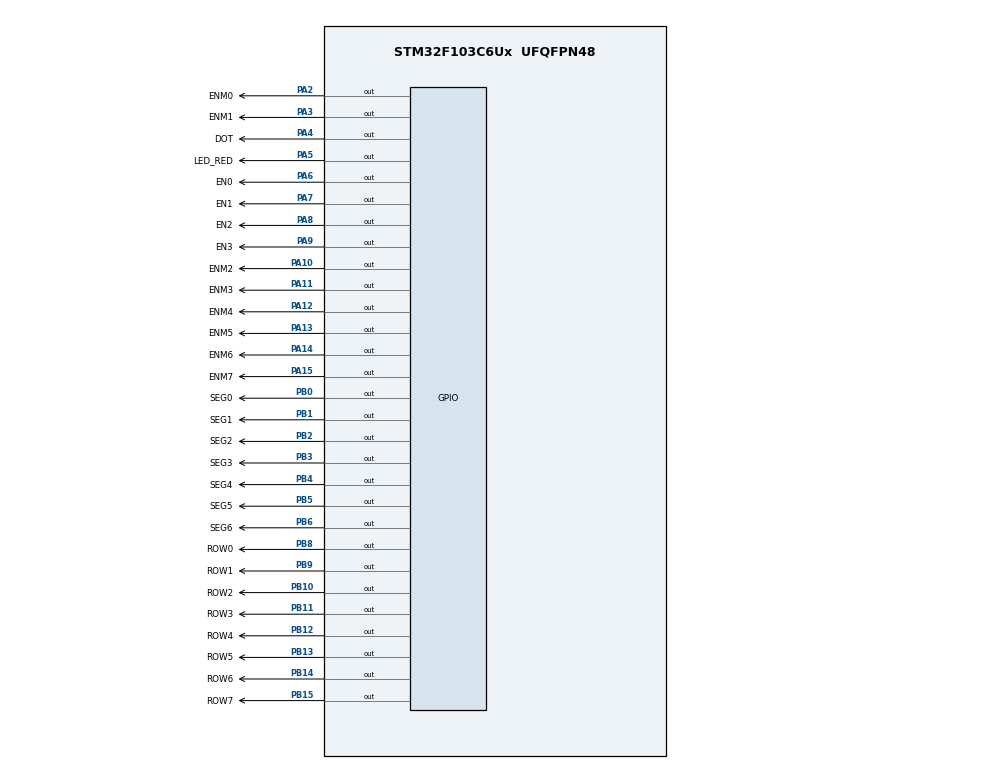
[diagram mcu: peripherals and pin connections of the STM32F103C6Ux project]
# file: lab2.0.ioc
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Mcu.Family=STM32F1
Mcu.Name=STM32F103C6Ux
Mcu.Package=UFQFPN48
NVIC.PriorityGroup=NVIC_PRIORITYGROUP_4
NVIC.TIM2_IRQn=true\:0\:0\:false\:false\:true\:true\:true
PA10.GPIO_Label=ENM2
PA10.Signal=GPIO_Output
PA11.GPIO_Label=ENM3
PA11.Signal=GPIO_Output
PA12.GPIO_Label=ENM4
PA12.Signal=GPIO_Output
PA13.GPIO_Label=ENM5
PA13.Signal=GPIO_Output
PA14.GPIO_Label=ENM6
PA14.Signal=GPIO_Output
PA15.GPIO_Label=ENM7
PA15.Signal=GPIO_Output
PA2.GPIO_Label=ENM0
PA2.Signal=GPIO_Output
PA3.GPIO_Label=ENM1
PA3.Signal=GPIO_Output
PA4.GPIO_Label=DOT
PA4.Signal=GPIO_Output
PA5.GPIO_Label=LED_RED
PA5.Signal=GPIO_Output
PA6.GPIO_Label=EN0
PA6.Signal=GPIO_Output
PA7.GPIO_Label=EN1
PA7.Signal=GPIO_Output
PA8.GPIO_Label=EN2
PA8.Signal=GPIO_Output
PA9.GPIO_Label=EN3
PA9.Signal=GPIO_Output
PB0.GPIO_Label=SEG0
PB0.Signal=GPIO_Output
PB1.GPIO_Label=SEG1
PB1.Signal=GPIO_Output
PB10.GPIO_Label=ROW2
PB10.Signal=GPIO_Output
PB11.GPIO_Label=ROW3
PB11.Signal=GPIO_Output
PB12.GPIO_Label=ROW4
PB12.Signal=GPIO_Output
PB13.GPIO_Label=ROW5
PB13.Signal=GPIO_Output
PB14.GPIO_Label=ROW6
PB14.Signal=GPIO_Output
PB15.GPIO_Label=ROW7
PB15.Signal=GPIO_Output
PB2.GPIO_Label=SEG2
PB2.Signal=GPIO_Output
PB3.GPIO_Label=SEG3
PB3.Signal=GPIO_Output
PB4.GPIO_Label=SEG4
PB4.Signal=GPIO_Output
PB5.GPIO_Label=SEG5
PB5.Signal=GPIO_Output
PB6.GPIO_Label=SEG6
PB6.Signal=GPIO_Output
PB8.GPIO_Label=ROW0
PB8.Signal=GPIO_Output
PB9.GPIO_Label=ROW1
PB9.Signal=GPIO_Output
ProjectManager.HeapSize=0x200
ProjectManager.StackSize=0x400
ProjectManager.TargetToolchain=STM32CubeIDE
RCC.APB1Freq_Value=8000000
RCC.APB2Freq_Value=8000000
TIM2.Period=9
TIM2.Prescaler=7999
VP_SYS_VS_ND.Mode=No_Debug
VP_TIM2_VS_ClockSourceINT.Mode=Internal
board=custom

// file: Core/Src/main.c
/* USER CODE BEGIN Header */
/**
  ******************************************************************************
  * @file           : main.c
  * @brief          : Main program body
  ******************************************************************************
  * @attention
  *
  * <h2><center>&copy; Copyright (c) 2024 STMicroelectronics.
  * All rights reserved.</center></h2>
  *
  * This software component is licensed by ST under BSD 3-Clause license,
  * the "License"; You may not use this file except in compliance with the
  * License. You may obtain a copy of the License at:
  *                        opensource.org/licenses/BSD-3-Clause
  *
  ******************************************************************************
  */
/* USER CODE END Header */
#include "main.h"

/* USER CODE BEGIN Includes */
#include "timer.h"
/* USER CODE END Includes */

TIM_HandleTypeDef htim2;

void SystemClock_Config(void);
static void MX_GPIO_Init(void);
static void MX_TIM2_Init(void);
void display7SEG(int num);
void update7SEG(int index);
void updateClockbuffer(int hour, int minute);

int main(void)
{

  /* MCU Configuration--------------------------------------------------------*/

  /* Reset of all peripherals, Initializes the Flash interface and the Systick. */
  HAL_Init();

  /* Configure the system clock */
  SystemClock_Config();

  /* Initialize all configured peripherals */
  MX_GPIO_Init();
  MX_TIM2_Init();
  /* USER CODE BEGIN 2 */
  HAL_TIM_Base_Start_IT (&htim2);
  /* USER CODE END 2 */

  /* Infinite loop */
  /* USER CODE BEGIN WHILE */
  settimer1(1000);
  settimer2(100);
  settimer3(25);
  int hour = 15, minute = 8, second = 50;
  updateClockbuffer(hour, minute);
  const int MAX_LED = 4;
  int index_led = 0;

  while (1)
  {
	  if(timer1_flag == 1){
		  HAL_GPIO_TogglePin(GPIOA, DOT_Pin);
		  settimer1(1000);
	  }
	  if(timer2_flag == 1){
	  second++;
	  	  if(second >= 60){
	  		  second = 0;
	  		  minute++;
	  	  }
	  	  if(minute >=60){
	  		  minute = 0;
	  		  hour++;
	  	  }
	  	  if(hour >=24){
	  		  hour = 0;
	  	  }
	  	  updateClockbuffer(hour, minute);
	  	  settimer2(100);
	  }
	  if(timer3_flag == 1){
		  update7SEG(index_led);
		  index_led++;
		  if(index_led >= MAX_LED)
		  {
			  index_led = 0;
		  }
		  settimer3(25);
	  }

    /* USER CODE END WHILE */

  }
}

void SystemClock_Config(void)
{
  RCC_OscInitTypeDef RCC_OscInitStruct = {0};
  RCC_ClkInitTypeDef RCC_ClkInitStruct = {0};

  /** Initializes the RCC Oscillators according to the specified parameters
  * in the RCC_OscInitTypeDef structure.
  */
  RCC_OscInitStruct.OscillatorType = RCC_OSCILLATORTYPE_HSI;
  RCC_OscInitStruct.HSIState = RCC_HSI_ON;
  RCC_OscInitStruct.HSICalibrationValue = RCC_HSICALIBRATION_DEFAULT;
  RCC_OscInitStruct.PLL.PLLState = RCC_PLL_NONE;
  if (HAL_RCC_OscConfig(&RCC_OscInitStruct) != HAL_OK)
  {
    Error_Handler();
  }
  /** Initializes the CPU, AHB and APB buses clocks
  */
  RCC_ClkInitStruct.ClockType = RCC_CLOCKTYPE_HCLK|RCC_CLOCKTYPE_SYSCLK
                              |RCC_CLOCKTYPE_PCLK1|RCC_CLOCKTYPE_PCLK2;
  RCC_ClkInitStruct.SYSCLKSource = RCC_SYSCLKSOURCE_HSI;
  RCC_ClkInitStruct.AHBCLKDivider = RCC_SYSCLK_DIV1;
  RCC_ClkInitStruct.APB1CLKDivider = RCC_HCLK_DIV1;
  RCC_ClkInitStruct.APB2CLKDivider = RCC_HCLK_DIV1;

  if (HAL_RCC_ClockConfig(&RCC_ClkInitStruct, FLASH_LATENCY_0) != HAL_OK)
  {
    Error_Handler();
  }
}

static void MX_TIM2_Init(void)
{

  TIM_ClockConfigTypeDef sClockSourceConfig = {0};
  TIM_MasterConfigTypeDef sMasterConfig = {0};

  htim2.Instance = TIM2;
  htim2.Init.Prescaler = 7999;
  htim2.Init.CounterMode = TIM_COUNTERMODE_UP;
  htim2.Init.Period = 9;
  htim2.Init.ClockDivision = TIM_CLOCKDIVISION_DIV1;
  htim2.Init.AutoReloadPreload = TIM_AUTORELOAD_PRELOAD_DISABLE;
  if (HAL_TIM_Base_Init(&htim2) != HAL_OK)
  {
    Error_Handler();
  }
  sClockSourceConfig.ClockSource = TIM_CLOCKSOURCE_INTERNAL;
  if (HAL_TIM_ConfigClockSource(&htim2, &sClockSourceConfig) != HAL_OK)
  {
    Error_Handler();
  }
  sMasterConfig.MasterOutputTrigger = TIM_TRGO_RESET;
  sMasterConfig.MasterSlaveMode = TIM_MASTERSLAVEMODE_DISABLE;
  if (HAL_TIMEx_MasterConfigSynchronization(&htim2, &sMasterConfig) != HAL_OK)
  {
    Error_Handler();
  }

}

static void MX_GPIO_Init(void)
{
  GPIO_InitTypeDef GPIO_InitStruct = {0};

  /* GPIO Ports Clock Enable */
  __HAL_RCC_GPIOA_CLK_ENABLE();
  __HAL_RCC_GPIOB_CLK_ENABLE();

  /*Configure GPIO pin Output Level */
  HAL_GPIO_WritePin(GPIOA, ENM0_Pin|ENM1_Pin|DOT_Pin|LED_RED_Pin
                          |EN0_Pin|EN1_Pin|EN2_Pin|EN3_Pin
                          |ENM2_Pin|ENM3_Pin|ENM4_Pin|ENM5_Pin
                          |ENM6_Pin|ENM7_Pin, GPIO_PIN_RESET);

  /*Configure GPIO pin Output Level */
  HAL_GPIO_WritePin(GPIOB, SEG0_Pin|SEG1_Pin|SEG2_Pin|ROW2_Pin
                          |ROW3_Pin|ROW4_Pin|ROW5_Pin|ROW6_Pin
                          |ROW7_Pin|SEG3_Pin|SEG4_Pin|SEG5_Pin
                          |SEG6_Pin|ROW0_Pin|ROW1_Pin, GPIO_PIN_RESET);

  /*Configure GPIO pins : ENM0_Pin ENM1_Pin DOT_Pin LED_RED_Pin
                           EN0_Pin EN1_Pin EN2_Pin EN3_Pin
                           ENM2_Pin ENM3_Pin ENM4_Pin ENM5_Pin
                           ENM6_Pin ENM7_Pin */
  GPIO_InitStruct.Pin = ENM0_Pin|ENM1_Pin|DOT_Pin|LED_RED_Pin
                          |EN0_Pin|EN1_Pin|EN2_Pin|EN3_Pin
                          |ENM2_Pin|ENM3_Pin|ENM4_Pin|ENM5_Pin
                          |ENM6_Pin|ENM7_Pin;
  GPIO_InitStruct.Mode = GPIO_MODE_OUTPUT_PP;
  GPIO_InitStruct.Pull = GPIO_NOPULL;
  GPIO_InitStruct.Speed = GPIO_SPEED_FREQ_LOW;
  HAL_GPIO_Init(GPIOA, &GPIO_InitStruct);

  /*Configure GPIO pins : SEG0_Pin SEG1_Pin SEG2_Pin ROW2_Pin
                           ROW3_Pin ROW4_Pin ROW5_Pin ROW6_Pin
                           ROW7_Pin SEG3_Pin SEG4_Pin SEG5_Pin
                           SEG6_Pin ROW0_Pin ROW1_Pin */
  GPIO_InitStruct.Pin = SEG0_Pin|SEG1_Pin|SEG2_Pin|ROW2_Pin
                          |ROW3_Pin|ROW4_Pin|ROW5_Pin|ROW6_Pin
                          |ROW7_Pin|SEG3_Pin|SEG4_Pin|SEG5_Pin
                          |SEG6_Pin|ROW0_Pin|ROW1_Pin;
  GPIO_InitStruct.Mode = GPIO_MODE_OUTPUT_PP;
  GPIO_InitStruct.Pull = GPIO_NOPULL;
  GPIO_InitStruct.Speed = GPIO_SPEED_FREQ_LOW;
  HAL_GPIO_Init(GPIOB, &GPIO_InitStruct);

}

/* USER CODE BEGIN 4 */
const int MAX_LED = 4;
int index_led = 0;
int led_buffer [4] = {0};
void HAL_TIM_PeriodElapsedCallback(TIM_HandleTypeDef *htim) {
	timerun();
}
void display7SEG(int num) {
      HAL_GPIO_WritePin(GPIOB, SEG0_Pin | SEG1_Pin | SEG2_Pin | SEG3_Pin | SEG4_Pin | SEG5_Pin | SEG6_Pin, GPIO_PIN_SET);
      switch(num) {
      	  case 0:
      		  HAL_GPIO_WritePin(GPIOB, SEG0_Pin | SEG1_Pin | SEG2_Pin | SEG3_Pin | SEG4_Pin | SEG5_Pin, GPIO_PIN_RESET);
      		  break;
      	  case 1:
              HAL_GPIO_WritePin(GPIOB, SEG1_Pin | SEG2_Pin, GPIO_PIN_RESET);
              break;
          case 2:
              HAL_GPIO_WritePin(GPIOB, SEG0_Pin | SEG1_Pin | SEG3_Pin | SEG4_Pin | SEG6_Pin, GPIO_PIN_RESET);
              break;
          case 3:
        	  HAL_GPIO_WritePin(GPIOB, SEG0_Pin | SEG1_Pin | SEG2_Pin | SEG3_Pin | SEG6_Pin, GPIO_PIN_RESET);
        	  break;
          case 4:
              HAL_GPIO_WritePin(GPIOB, SEG1_Pin | SEG2_Pin | SEG5_Pin | SEG6_Pin, GPIO_PIN_RESET);
              break;
          case 5:
              HAL_GPIO_WritePin(GPIOB,  SEG0_Pin | SEG2_Pin | SEG3_Pin| SEG5_Pin | SEG6_Pin, GPIO_PIN_RESET);
              break;
          case 6:
              HAL_GPIO_WritePin(GPIOB,  SEG0_Pin| SEG2_Pin | SEG3_Pin | SEG4_Pin | SEG5_Pin | SEG6_Pin, GPIO_PIN_RESET);
              break;
          case 7:
              HAL_GPIO_WritePin(GPIOB,  SEG0_Pin | SEG1_Pin | SEG2_Pin, GPIO_PIN_RESET);
              break;
          case 8:
              HAL_GPIO_WritePin(GPIOB,  SEG0_Pin | SEG1_Pin | SEG2_Pin | SEG3_Pin | SEG4_Pin | SEG5_Pin | SEG6_Pin, GPIO_PIN_RESET);
              break;
          case 9:
              HAL_GPIO_WritePin(GPIOB,  SEG0_Pin | SEG1_Pin | SEG2_Pin | SEG3_Pin | SEG5_Pin | SEG6_Pin, GPIO_PIN_RESET);
              break;
          default:
        	  HAL_GPIO_WritePin(GPIOB, SEG0_Pin | SEG1_Pin | SEG2_Pin | SEG3_Pin | SEG4_Pin | SEG5_Pin | SEG6_Pin, GPIO_PIN_SET);
        	  break;
      }

  }

void update7SEG ( int index ){
	switch (index) {
		case 0:
			display7SEG(led_buffer[0]);
			HAL_GPIO_WritePin(EN0_GPIO_Port, EN0_Pin, GPIO_PIN_RESET);
			HAL_GPIO_WritePin(EN1_GPIO_Port, EN1_Pin, GPIO_PIN_SET);
			HAL_GPIO_WritePin(EN2_GPIO_Port, EN2_Pin, GPIO_PIN_SET);
			HAL_GPIO_WritePin(EN3_GPIO_Port, EN3_Pin, GPIO_PIN_SET);
			break;
		case 1:
			display7SEG(led_buffer[1]);
			HAL_GPIO_WritePin(EN0_GPIO_Port, EN0_Pin, GPIO_PIN_SET);
			HAL_GPIO_WritePin(EN1_GPIO_Port, EN1_Pin, GPIO_PIN_RESET);
			HAL_GPIO_WritePin(EN2_GPIO_Port, EN2_Pin, GPIO_PIN_SET);
			HAL_GPIO_WritePin(EN3_GPIO_Port, EN3_Pin, GPIO_PIN_SET);
			break;
		case 2:
			display7SEG(led_buffer[2]);
			HAL_GPIO_WritePin(EN0_GPIO_Port, EN0_Pin, GPIO_PIN_SET);
			HAL_GPIO_WritePin(EN1_GPIO_Port, EN1_Pin, GPIO_PIN_SET);
			HAL_GPIO_WritePin(EN2_GPIO_Port, EN2_Pin, GPIO_PIN_RESET);
			HAL_GPIO_WritePin(EN3_GPIO_Port, EN3_Pin, GPIO_PIN_SET);
			break;
		case 3:
			display7SEG(led_buffer[3]);
			HAL_GPIO_WritePin(EN0_GPIO_Port, EN0_Pin, GPIO_PIN_SET);
			HAL_GPIO_WritePin(EN1_GPIO_Port, EN1_Pin, GPIO_PIN_SET);
			HAL_GPIO_WritePin(EN2_GPIO_Port, EN2_Pin, GPIO_PIN_SET);
			HAL_GPIO_WritePin(EN3_GPIO_Port, EN3_Pin, GPIO_PIN_RESET);
			break;
		default:
			HAL_GPIO_WritePin(EN0_GPIO_Port, EN0_Pin, GPIO_PIN_RESET);
			HAL_GPIO_WritePin(EN1_GPIO_Port, EN1_Pin, GPIO_PIN_RESET);
			HAL_GPIO_WritePin(EN2_GPIO_Port, EN2_Pin, GPIO_PIN_RESET);
			HAL_GPIO_WritePin(EN3_GPIO_Port, EN3_Pin, GPIO_PIN_RESET);
			break;
	}
}

void updateClockbuffer(int hour, int minute) {
	led_buffer[0] = hour / 10;
	led_buffer[1] = hour % 10;
	led_buffer[2] = minute / 10;
	led_buffer[3] = minute % 10;
}
/* USER CODE END 4 */

void Error_Handler(void)
{
  __disable_irq();
  while (1)
  {
  }
}

/************************ (C) COPYRIGHT STMicroelectronics *****END OF FILE****/
